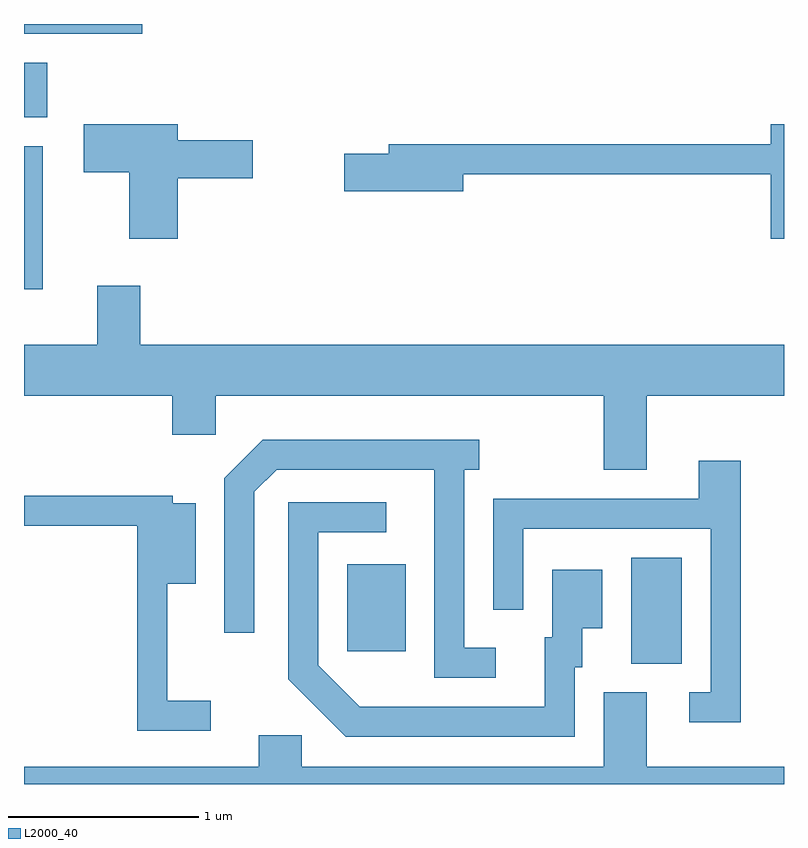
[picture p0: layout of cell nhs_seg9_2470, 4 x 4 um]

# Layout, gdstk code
import gdstk
lib = gdstk.Library(unit=1e-6, precision=1e-09)
def R(c, l, rs):  # rectangles x0, y0, x1, y1
    for r in rs: c.add(gdstk.rectangle(r[:2], r[2:], *l))
def P(c, l, *ps):  # polygons
    for p in ps: c.add(gdstk.Polygon(p, *l))
L2000_40 = (2000, 40)

nhs_seg9_2470 = lib.new_cell('nhs_seg9_2470')
R(nhs_seg9_2470, L2000_40, [(260.806,1997.066,261.074,1997.624), (259.311,1997.131,259.619,1997.589), (257.611,1999.036,257.709,1999.789), (257.611,1999.941,257.734,2000.229), (257.611,2000.381,258.233,2000.432)])
P(nhs_seg9_2470, L2000_40, [(261.611,1999.904),(261.541,1999.904),(261.541,1999.799),(259.531,1999.799),(259.531,1999.749),(259.296,1999.749),(259.296,1999.551),(259.924,1999.551),(259.924,1999.641),(261.541,1999.641),(261.541,1999.301),(261.611,1999.301)],
  [(258.419,1999.621),(258.814,1999.621),(258.814,1999.819),(258.419,1999.819),(258.419,1999.904),(257.926,1999.904),(257.926,1999.651),(258.166,1999.651),(258.166,1999.301),(258.419,1999.301)],
  [(260.889,1998.476),(261.611,1998.476),(261.611,1998.744),(258.224,1998.744),(258.224,1999.054),(257.996,1999.054),(257.996,1998.744),(257.611,1998.744),(257.611,1998.476),(258.391,1998.476),(258.391,1998.271),(258.619,1998.271),(258.619,1998.476),(260.661,1998.476),(260.661,1998.086),(260.889,1998.086)],
  [(260.093,1997.149),(259.929,1997.149),(259.929,1998.086),(260.008,1998.086),(260.008,1998.244),(258.868,1998.244),(258.666,1998.042),(258.666,1997.228),(258.824,1997.228),(258.824,1997.969),(258.942,1998.086),(259.771,1998.086),(259.771,1996.991),(260.093,1996.991)],
  [(261.384,1998.134),(261.161,1998.134),(261.161,1997.934),(260.081,1997.934),(260.081,1997.348),(260.239,1997.348),(260.239,1997.776),(261.226,1997.776),(261.226,1996.914),(261.113,1996.914),(261.113,1996.756),(261.384,1996.756)],
  [(258.593,1996.869),(258.364,1996.869),(258.364,1997.486),(258.514,1997.486),(258.514,1997.909),(258.394,1997.909),(258.394,1997.949),(257.611,1997.949),(257.611,1997.791),(258.206,1997.791),(258.206,1996.711),(258.593,1996.711)],
  [(260.509,1997.046),(260.549,1997.046),(260.549,1997.251),(260.654,1997.251),(260.654,1997.559),(260.391,1997.559),(260.391,1997.204),(260.351,1997.204),(260.351,1996.839),(259.377,1996.839),(259.159,1997.057),(259.159,1997.756),(259.517,1997.756),(259.517,1997.914),(259.001,1997.914),(259.001,1996.984),(259.304,1996.681),(260.509,1996.681)],
  [(261.611,1996.524),(260.889,1996.524),(260.889,1996.914),(260.661,1996.914),(260.661,1996.524),(259.074,1996.524),(259.074,1996.689),(258.846,1996.689),(258.846,1996.524),(257.611,1996.524),(257.611,1996.432),(261.611,1996.432)])

lib.write_gds('nhs_seg9_2470.gds')
